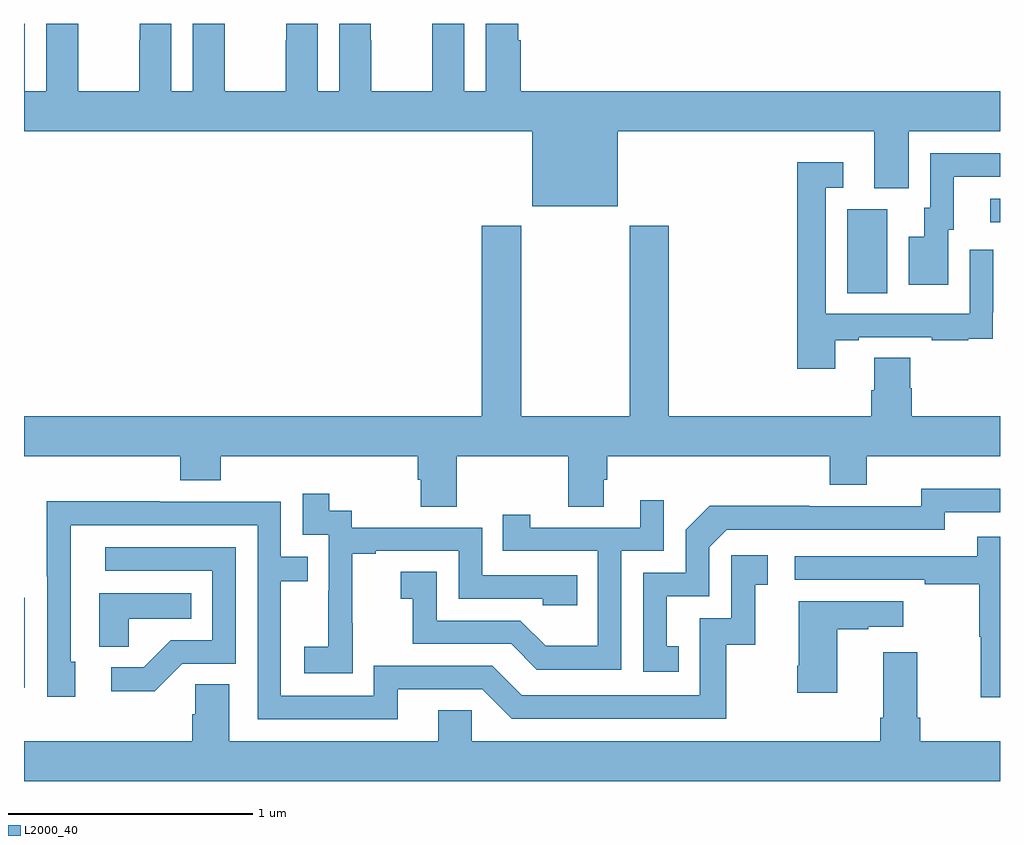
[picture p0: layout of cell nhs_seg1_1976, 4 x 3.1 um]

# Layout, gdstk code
import gdstk
lib = gdstk.Library(unit=1e-6, precision=1e-09)
def R(c, l, rs):  # rectangles x0, y0, x1, y1
    for r in rs: c.add(gdstk.rectangle(r[:2], r[2:], *l))
def P(c, l, *ps):  # polygons
    for p in ps: c.add(gdstk.Polygon(p, *l))
L2000_40 = (2000, 40)

nhs_seg1_1976 = lib.new_cell('nhs_seg1_1976')
R(nhs_seg1_1976, L2000_40, [(219,521.478,219.003,521.847), (222.374,523.096,222.538,523.44), (222.96,523.386,223,523.482)])
P(nhs_seg1_1976, L2000_40, [(221.434,523.76),(222.485,523.76),(222.485,523.525),(222.625,523.525),(222.625,523.76),(223,523.76),(223,523.924),(221.036,523.924),(221.036,524.132),(221.026,524.132),(221.026,524.199),(220.892,524.199),(220.892,523.924),(220.804,523.924),(220.804,524.199),(220.674,524.199),(220.674,524.132),(220.673,524.132),(220.673,523.924),(220.423,523.924),(220.423,524.132),(220.422,524.132),(220.422,524.199),(220.292,524.199),(220.292,523.924),(220.204,523.924),(220.204,524.199),(220.074,524.199),(220.074,524.132),(220.073,524.132),(220.073,523.924),(219.823,523.924),(219.823,524.132),(219.822,524.132),(219.822,524.199),(219.692,524.199),(219.692,523.924),(219.604,523.924),(219.604,524.199),(219.474,524.199),(219.474,524.132),(219.473,524.132),(219.473,523.924),(219.223,523.924),(219.223,524.132),(219.222,524.132),(219.222,524.199),(219.092,524.199),(219.092,523.924),(219.004,523.924),(219.004,524.199),(219,524.199),(219,523.76),(221.084,523.76),(221.084,523.451),(221.434,523.451)],
  [(222.787,523.356),(222.811,523.356),(222.811,523.572),(223,523.572),(223,523.668),(222.714,523.668),(222.714,523.446),(222.689,523.446),(222.689,523.327),(222.626,523.327),(222.626,523.131),(222.787,523.131)],
  [(222.325,522.903),(222.421,522.903),(222.421,522.915),(222.721,522.915),(222.721,522.903),(222.869,522.903),(222.869,522.909),(222.971,522.909),(222.971,523.018),(222.972,523.018),(222.972,523.273),(222.876,523.273),(222.876,523.011),(222.285,523.011),(222.285,523.527),(222.358,523.527),(222.358,523.633),(222.169,523.633),(222.169,522.786),(222.325,522.786)],
  [(221.642,523.371),(221.482,523.371),(221.482,522.592),(221.037,522.592),(221.037,523.371),(220.877,523.371),(220.877,522.592),(219,522.592),(219,522.428),(219.641,522.428),(219.641,522.329),(219.806,522.329),(219.806,522.428),(220.613,522.428),(220.613,522.33),(220.625,522.33),(220.625,522.22),(220.773,522.22),(220.773,522.428),(221.23,522.428),(221.23,522.22),(221.377,522.22),(221.377,522.33),(221.39,522.33),(221.39,522.428),(222.302,522.428),(222.302,522.311),(222.454,522.311),(222.454,522.428),(223,522.428),(223,522.592),(222.638,522.592),(222.638,522.705),(222.633,522.705),(222.633,522.83),(222.485,522.83),(222.485,522.698),(222.473,522.698),(222.473,522.592),(221.642,522.592)],
  [(221.684,521.649),(221.635,521.649),(221.635,521.853),(221.808,521.853),(221.808,522.054),(221.88,522.126),(222.774,522.126),(222.774,522.198),(223,522.198),(223,522.295),(222.678,522.295),(222.678,522.222),(222.218,522.222),(222.218,522.224),(221.81,522.224),(221.712,522.126),(221.712,521.949),(221.538,521.949),(221.538,521.544),(221.684,521.544)],
  [(220.347,521.743),(220.346,521.743),(220.346,522.027),(220.441,522.027),(220.441,522.039),(220.782,522.039),(220.782,521.844),(221.127,521.844),(221.127,521.817),(221.267,521.817),(221.267,521.94),(220.878,521.94),(220.878,522.135),(220.344,522.135),(220.344,522.204),(220.252,522.204),(220.252,522.274),(220.143,522.274),(220.143,522.105),(220.248,522.105),(220.248,521.876),(220.247,521.876),(220.247,521.647),(220.149,521.647),(220.149,521.537),(220.347,521.537)],
  [(221.448,522.039),(221.622,522.039),(221.622,522.246),(221.525,522.246),(221.525,522.135),(221.074,522.135),(221.074,522.187),(220.963,522.187),(220.963,522.039),(221.352,522.039),(221.352,521.65),(221.138,521.65),(221.034,521.754),(220.692,521.754),(220.692,521.953),(220.545,521.953),(220.545,521.843),(220.594,521.843),(220.594,521.658),(220.997,521.658),(221.102,521.553),(221.448,521.553)],
  [(220.531,521.472),(220.878,521.472),(220.998,521.352),(221.878,521.352),(221.878,521.655),(221.996,521.655),(221.996,521.901),(222.049,521.901),(222.049,522.022),(221.898,522.022),(221.898,521.763),(221.769,521.763),(221.769,521.448),(221.04,521.448),(220.92,521.568),(220.434,521.568),(220.434,521.445),(220.053,521.445),(220.053,521.914),(220.163,521.914),(220.163,522.015),(220.053,522.015),(220.053,522.24),(219.557,522.24),(219.557,522.242),(219.094,522.242),(219.094,521.935),(219.096,521.935),(219.096,521.442),(219.211,521.442),(219.211,521.586),(219.192,521.586),(219.192,522.144),(219.957,522.144),(219.957,521.349),(220.531,521.349)],
  [(223,522.097),(222.907,522.097),(222.907,522.018),(222.159,522.018),(222.159,521.922),(222.691,521.922),(222.691,521.902),(222.915,521.902),(222.915,521.688),(222.922,521.688),(222.922,521.439),(223,521.439)],
  [(219.648,521.577),(219.867,521.577),(219.867,522.054),(219.333,522.054),(219.333,521.958),(219.771,521.958),(219.771,521.673),(219.602,521.673),(219.491,521.562),(219.357,521.562),(219.357,521.465),(219.535,521.465)],
  [(219.429,521.762),(219.686,521.762),(219.686,521.866),(219.308,521.866),(219.308,521.647),(219.429,521.647)],
  [(222.334,521.719),(222.461,521.719),(222.461,521.729),(222.604,521.729),(222.604,521.833),(222.176,521.833),(222.176,521.569),(222.169,521.569),(222.169,521.457),(222.334,521.457)],
  [(223,521.26),(222.674,521.26),(222.674,521.356),(222.661,521.356),(222.661,521.623),(222.521,521.623),(222.521,521.356),(222.509,521.356),(222.509,521.26),(220.836,521.26),(220.836,521.387),(220.697,521.387),(220.697,521.26),(219.841,521.26),(219.841,521.492),(219.702,521.492),(219.702,521.369),(219.689,521.369),(219.689,521.26),(219,521.26),(219,521.096),(223,521.096)])

lib.write_gds('nhs_seg1_1976.gds')
